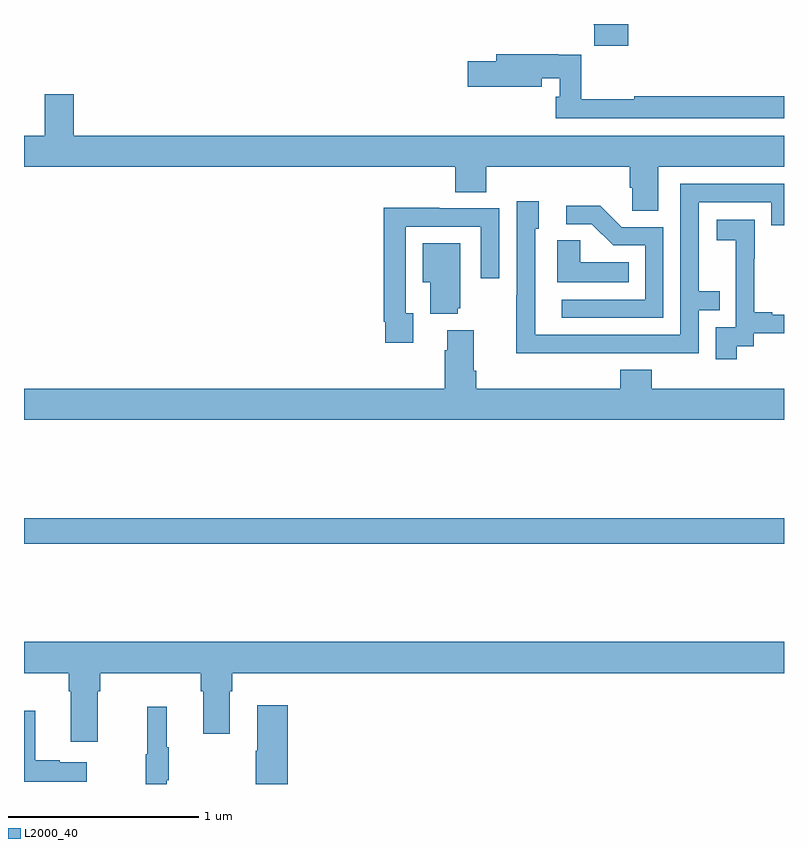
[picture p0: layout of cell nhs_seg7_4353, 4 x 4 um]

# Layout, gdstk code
import gdstk
lib = gdstk.Library(unit=1e-6, precision=1e-09)
def R(c, l, rs):  # rectangles x0, y0, x1, y1
    for r in rs: c.add(gdstk.rectangle(r[:2], r[2:], *l))
def P(c, l, *ps):  # polygons
    for p in ps: c.add(gdstk.Polygon(p, *l))
L2000_40 = (2000, 40)

nhs_seg7_4353 = lib.new_cell('nhs_seg7_4353')
R(nhs_seg7_4353, L2000_40, [(385,1033.264,389,1033.4)])
P(nhs_seg7_4353, L2000_40, [(388.181,1036),(387.998,1036),(387.998,1035.997),(388,1035.997),(388,1035.885),(388.181,1035.885)],
  [(389,1035.62),(388.212,1035.62),(388.212,1035.605),(387.933,1035.605),(387.933,1035.839),(387.812,1035.839),(387.812,1035.842),(387.485,1035.842),(387.485,1035.805),(387.336,1035.805),(387.336,1035.671),(387.724,1035.671),(387.724,1035.714),(387.819,1035.714),(387.819,1035.618),(387.799,1035.618),(387.799,1035.504),(389,1035.504)],
  [(388.339,1035.248),(389,1035.248),(389,1035.412),(385.262,1035.412),(385.262,1035.631),(385.109,1035.631),(385.109,1035.412),(385,1035.412),(385,1035.248),(387.269,1035.248),(387.269,1035.115),(387.434,1035.115),(387.434,1035.248),(388.187,1035.248),(388.187,1035.139),(388.2,1035.139),(388.2,1035.016),(388.339,1035.016)],
  [(388.055,1034.268),(388.551,1034.268),(388.551,1034.493),(388.661,1034.493),(388.661,1034.594),(388.551,1034.594),(388.551,1035.063),(388.932,1035.063),(388.932,1034.94),(389,1034.94),(389,1035.159),(388.455,1035.159),(388.455,1034.364),(387.69,1034.364),(387.69,1034.922),(387.709,1034.922),(387.709,1035.067),(387.594,1035.067),(387.594,1034.573),(387.592,1034.573),(387.592,1034.267),(388.055,1034.267)],
  [(388.365,1034.931),(388.146,1034.931),(388.033,1035.044),(387.855,1035.044),(387.855,1034.946),(387.989,1034.946),(388.1,1034.835),(388.269,1034.835),(388.269,1034.55),(387.831,1034.55),(387.831,1034.454),(388.365,1034.454)],
  [(387.049,1034.478),(387.009,1034.478),(387.009,1034.934),(387.405,1034.934),(387.405,1034.661),(387.501,1034.661),(387.501,1035.03),(387.185,1035.03),(387.185,1035.032),(386.893,1035.032),(386.893,1034.434),(386.901,1034.434),(386.901,1034.322),(387.049,1034.322)],
  [(388.75,1034.305),(388.842,1034.305),(388.842,1034.373),(389,1034.373),(389,1034.469),(388.939,1034.469),(388.939,1034.482),(388.844,1034.482),(388.844,1034.765),(388.845,1034.765),(388.845,1034.971),(388.647,1034.971),(388.647,1034.861),(388.745,1034.861),(388.745,1034.632),(388.746,1034.632),(388.746,1034.403),(388.641,1034.403),(388.641,1034.235),(388.75,1034.235)],
  [(388.184,1034.746),(387.927,1034.746),(387.927,1034.861),(387.806,1034.861),(387.806,1034.642),(388.184,1034.642)],
  [(387.284,1034.505),(387.295,1034.505),(387.295,1034.845),(387.098,1034.845),(387.098,1034.642),(387.137,1034.642),(387.137,1034.474),(387.284,1034.474)],
  [(389,1034.08),(388.304,1034.08),(388.304,1034.179),(388.139,1034.179),(388.139,1034.08),(387.38,1034.08),(387.38,1034.176),(387.367,1034.176),(387.367,1034.389),(387.227,1034.389),(387.227,1034.282),(387.215,1034.282),(387.215,1034.08),(385,1034.08),(385,1033.916),(389,1033.916)],
  [(385.387,1032.488),(385.4,1032.488),(385.4,1032.584),(385.931,1032.584),(385.931,1032.488),(385.943,1032.488),(385.943,1032.264),(386.083,1032.264),(386.083,1032.488),(386.096,1032.488),(386.096,1032.584),(389,1032.584),(389,1032.748),(385,1032.748),(385,1032.584),(385.235,1032.584),(385.235,1032.488),(385.247,1032.488),(385.247,1032.222),(385.387,1032.222)],
  [(386.387,1032.415),(386.228,1032.415),(386.228,1032.176),(386.221,1032.176),(386.221,1032),(386.387,1032)],
  [(385.751,1032.019),(385.762,1032.019),(385.762,1032.193),(385.751,1032.193),(385.751,1032.406),(385.648,1032.406),(385.648,1032.156),(385.641,1032.156),(385.641,1032),(385.751,1032)],
  [(385.33,1032.115),(385.187,1032.115),(385.187,1032.125),(385.06,1032.125),(385.06,1032.385),(385,1032.385),(385,1032.011),(385.33,1032.011)])

lib.write_gds('nhs_seg7_4353.gds')
